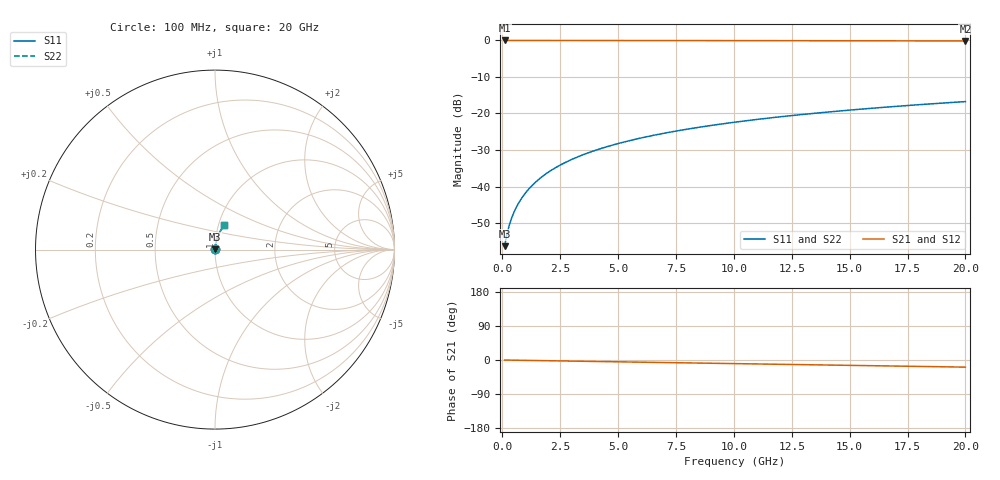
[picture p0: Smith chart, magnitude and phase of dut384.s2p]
! Touchstone file exported from HFSS 2026.1.0
!  File:  C:/ffzhzh/LocalFiles/Ansys_Project_Files/temp_train_TMRDL_384_1783004600_4048.aedt
!  Generated:  11:04:46 PM Jul  2, 2026
!  Design:  TMRDL
!  Project:  temp_train_TMRDL_384_1783004600_4048
! Variables:
!  h_bsmrdl = 2um
!  h_ox = 20um
!  h_rdl = 5um
!  h_sub = 80um
!  h_tmrdl = 3.37um
!  h_tsv = 80um
!  h_via = 3um
!  l_bsmrdl = 300um
!  l_sub = 664.71um
!  l_tmrdl = 264.71um
!  m_sub = 200um
!  pitch = 47.8um
!  r_tsv = 6um
!  s_tmrdl = 10um
!  w_bsmrdl = 18um
!  w_sub = 500um
!  w_tmrdl = 29.65um
!  x_tsv_center1 = 279.535um
!  x_tsv_center2 = 597.535um
!  x_tsv_center3 = 891.895um
!  x_tsv_center4 = 1209.895um
!  x_tsv_center5 = 1504.255um
!  x_tsv_center6 = 1822.255um
# GHz S MA R 50.000000
! Terminal data exported
! Port[1] = TM_RDL1_1_T1
! Port[2] = TM_RDL1_1_T2
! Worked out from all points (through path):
!   200 points, 100 MHz to 20 GHz, reference 50 ohm
!   highest |S21| = -0.01 dB at 100 MHz (marker M1); lowest = -0.1 dB at 20 GHz (marker M2)
!   group delay of S21, straight-line fit = 2.61 ps
!   lowest |S11| = -56.3 dB at 100 MHz (marker M3), VSWR 1.00, Z = 50.1 + j0.0917 ohm
!   |S11| at or under -10 dB: start of sweep to end of sweep
!   |S22| runs from -56.3 to -16.7 dB; largest |S21 - S12| = 3e-15
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0.1  0.001526 36.8  0.9988 -0.1  0.9988 -0.1  0.001526 36.8
! Gamma 0 0 0 0
! Port Impedance 50 0 50 0
0.2  0.002212 53.5  0.9987 -0.2  0.9987 -0.2  0.002212 53.5
0.3  0.002951 61.4  0.9986 -0.3  0.9986 -0.3  0.002951 61.4
0.4  0.003687 66.0  0.9985 -0.4  0.9985 -0.4  0.003687 66.0
0.5  0.004421 69.2  0.9985 -0.5  0.9985 -0.5  0.004421 69.2
0.6  0.005157 71.6  0.9984 -0.6  0.9984 -0.6  0.005157 71.6
0.8  0.006644 75.0  0.9984 -0.8  0.9984 -0.8  0.006644 75.0
1.1  0.008906 78.0  0.9983 -1.1  0.9983 -1.1  0.008906 78.0
1.3  0.01043 79.3  0.9982 -1.3  0.9982 -1.3  0.01043 79.3
1.6  0.01273 80.5  0.9982 -1.6  0.9982 -1.6  0.01273 80.5
2.1  0.01657 81.6  0.998 -2.0  0.998 -2.0  0.01657 81.6
2.7  0.02119 82.1  0.9978 -2.6  0.9978 -2.6  0.02119 82.1
3.5  0.02733 82.2  0.9975 -3.4  0.9975 -3.4  0.02733 82.2
4.2  0.03268 81.9  0.9972 -4.1  0.9972 -4.1  0.03268 81.9
5  0.03875 81.5  0.9968 -4.8  0.9968 -4.8  0.03875 81.5
5.9  0.04552 80.9  0.9962 -5.7  0.9962 -5.7  0.04552 80.9
6.8  0.05224 80.2  0.9956 -6.5  0.9956 -6.5  0.05224 80.2
8.3  0.06331 79.0  0.9946 -7.9  0.9946 -7.9  0.06331 79.0
10.1  0.07642 77.5  0.9932 -9.6  0.9932 -9.6  0.07642 77.5
13.4  0.1 74.7  0.9904 -12.7  0.9904 -12.7  0.1 74.7
16.7  0.123 71.8  0.9873 -15.8  0.9873 -15.8  0.123 71.8
20  0.1454 69.0  0.9838 -18.8  0.9838 -18.8  0.1454 69.0
